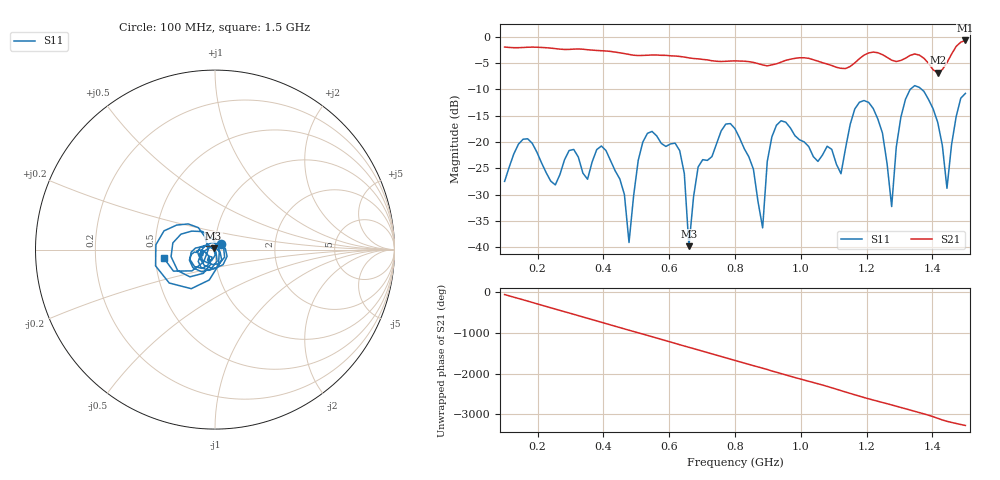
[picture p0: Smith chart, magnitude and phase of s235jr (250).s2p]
! NanoVNA-App
! Date: 2025-09-25 15:06:06
! Start: 100MHz Stop: 1,5GHz Points: 101
! S-Parameter data: F S11 S21 S12 S22
# Hz S RI R 50
!  Frequency  S11_Real  S11_Imag  S21_Real  S21_Imag  S12_Real  S12_Imag  S22_Real  S22_Imag
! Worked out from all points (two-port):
!   101 points, 100 MHz to 1.5 GHz, reference 50 ohm
!   highest |S21| = -0.71 dB at 1.5 GHz (marker M1); lowest = -6.8 dB at 1.416 GHz (marker M2)
!   |S21| within 3 dB of the highest: start of sweep to 626 MHz; 1.188 GHz to 1.256 GHz (68.8 MHz wide, 5.63 % of centre)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
!   lowest |S11| = -39.8 dB at 660 MHz (marker M3), VSWR 1.02, Z = 49.2 + j0.638 ohm
!   |S11| at or under -10 dB: start of sweep to 1.332 GHz; 1.367 GHz to end of sweep
!   S12 and S22 are empty: the file has one direction only
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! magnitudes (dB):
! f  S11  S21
! 100 MHz  -27.5  -2.0
! 156 MHz  -19.5  -2.0
! 338 MHz  -25.9  -2.4
! 408 MHz  -21.6  -2.7
! 478 MHz  -39.1  -3.4
! 520 MHz  -20.0  -3.6
! 576 MHz  -20.3  -3.5
! 632 MHz  -21.6  -3.7
! 660 MHz  -39.8  -4.0
! 688 MHz  -24.7  -4.2
! 800 MHz  -17.5  -4.6
! 884 MHz  -36.3  -5.4
! 898 MHz  -23.7  -5.5
! 926 MHz  -16.8  -5.1
! 1.038 GHz  -22.8  -4.4
! 1.122 GHz  -26.0  -6.0
! 1.206 GHz  -12.5  -3.1
! 1.276 GHz  -32.3  -4.5
! 1.332 GHz  -10.0  -3.5
! 1.416 GHz  -16.3  -6.8
! 1.444 GHz  -28.8  -4.9
! 1.5 GHz  -10.8  -0.7
